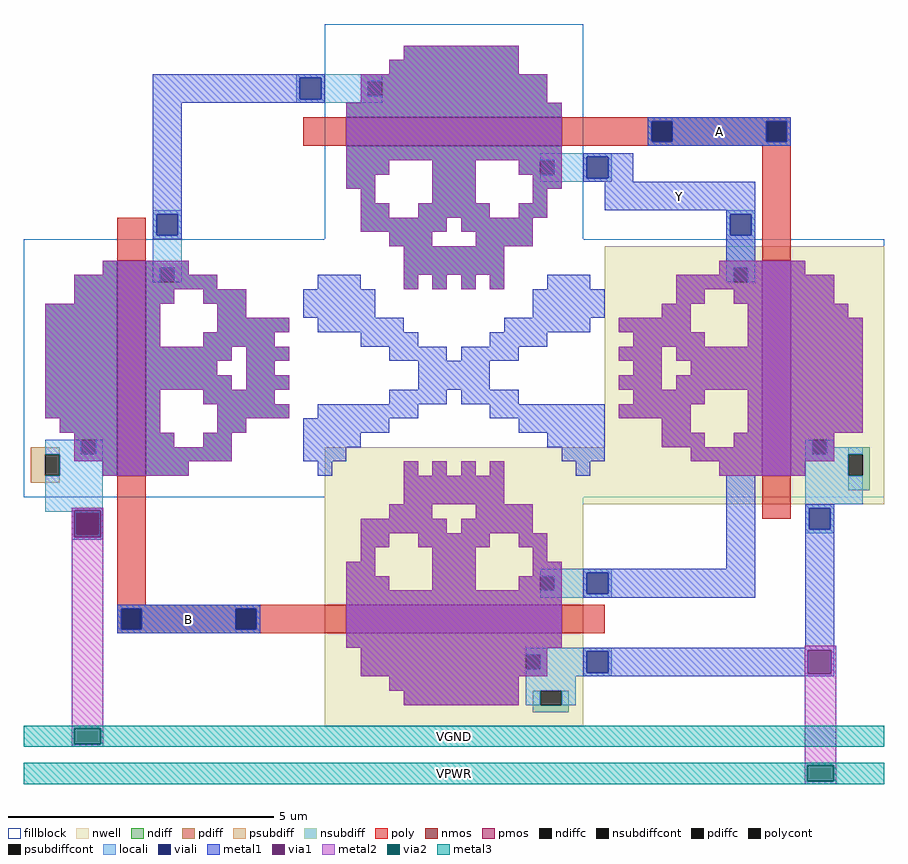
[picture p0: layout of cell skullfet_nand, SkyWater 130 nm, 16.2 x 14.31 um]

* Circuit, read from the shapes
.subckt skullfet_nand A B Y VPWR VGND
XM1 n1 B VGND VGND sky130_fd_pr__nfet_01v8 w=4.05 l=0.54
XM2 n1 A Y VGND sky130_fd_pr__nfet_01v8 w=4.05 l=0.54
XM3 Y B VPWR VPWR sky130_fd_pr__pfet_01v8 w=4.05 l=0.54
XM4 VPWR A Y VPWR sky130_fd_pr__pfet_01v8 w=4.05 l=0.54
.ends

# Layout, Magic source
magic
tech sky130A
magscale 1 2
<< nwell >>
rect 2187 1269 3240 2025
rect 1134 1053 3240 1269
rect 1134 216 2106 1053
<< nmos >>
rect 1215 2403 2025 2511
rect 351 1161 459 1971
<< pmos >>
rect 2781 1161 2889 1971
rect 1215 567 2025 675
<< ndiff >>
rect 1431 2727 1863 2781
rect 1377 2673 1863 2727
rect 1269 2646 1971 2673
rect 1269 2592 1296 2646
rect 1350 2592 1971 2646
rect 1269 2565 1971 2592
rect 1215 2511 2025 2565
rect 1215 2349 2025 2403
rect 1215 2295 1377 2349
rect 1215 2241 1323 2295
rect 1269 2187 1323 2241
rect 1539 2187 1701 2349
rect 1863 2295 1944 2349
rect 1998 2295 2025 2349
rect 1917 2241 2025 2295
rect 1917 2187 1971 2241
rect 1269 2133 1377 2187
rect 1485 2133 1755 2187
rect 1863 2133 1971 2187
rect 1269 2079 1593 2133
rect 1647 2079 1917 2133
rect 1377 2025 1539 2079
rect 1701 2025 1917 2079
rect 297 1917 351 1971
rect 189 1809 351 1917
rect 81 1377 351 1809
rect 135 1323 351 1377
rect 189 1296 351 1323
rect 189 1242 216 1296
rect 270 1242 351 1296
rect 189 1215 351 1242
rect 297 1161 351 1215
rect 459 1944 621 1971
rect 459 1890 513 1944
rect 567 1917 621 1944
rect 1431 1917 1809 2025
rect 567 1890 729 1917
rect 459 1863 729 1890
rect 1431 1863 1485 1917
rect 1539 1863 1593 1917
rect 1647 1863 1701 1917
rect 1755 1863 1809 1917
rect 459 1809 567 1863
rect 675 1809 837 1863
rect 459 1647 513 1809
rect 729 1755 837 1809
rect 729 1701 999 1755
rect 675 1647 945 1701
rect 459 1593 783 1647
rect 837 1593 999 1647
rect 459 1539 729 1593
rect 837 1539 945 1593
rect 459 1485 783 1539
rect 837 1485 999 1539
rect 459 1323 513 1485
rect 675 1431 945 1485
rect 729 1377 999 1431
rect 729 1323 837 1377
rect 459 1269 567 1323
rect 675 1269 783 1323
rect 459 1215 783 1269
rect 459 1161 621 1215
<< pdiff >>
rect 2619 1944 2781 1971
rect 2619 1917 2673 1944
rect 2457 1890 2673 1917
rect 2727 1890 2781 1944
rect 2457 1863 2781 1890
rect 2457 1809 2565 1863
rect 2673 1809 2781 1863
rect 2403 1755 2511 1809
rect 2241 1701 2511 1755
rect 2295 1647 2565 1701
rect 2727 1647 2781 1809
rect 2241 1593 2403 1647
rect 2457 1593 2781 1647
rect 2295 1539 2403 1593
rect 2511 1539 2781 1593
rect 2241 1485 2403 1539
rect 2457 1485 2781 1539
rect 2295 1431 2565 1485
rect 2241 1377 2511 1431
rect 2403 1323 2511 1377
rect 2727 1323 2781 1485
rect 2403 1269 2565 1323
rect 2673 1269 2781 1323
rect 2511 1215 2781 1269
rect 1431 1161 1485 1215
rect 1539 1161 1593 1215
rect 1647 1161 1701 1215
rect 1755 1161 1809 1215
rect 2619 1161 2781 1215
rect 2889 1917 2943 1971
rect 2889 1809 3051 1917
rect 2889 1755 3105 1809
rect 2889 1323 3159 1755
rect 2889 1296 3051 1323
rect 2889 1242 2970 1296
rect 3024 1242 3051 1296
rect 2889 1215 3051 1242
rect 2889 1161 2943 1215
rect 1431 1053 1809 1161
rect 1377 999 1539 1053
rect 1701 999 1917 1053
rect 1269 945 1593 999
rect 1647 945 1917 999
rect 1269 891 1377 945
rect 1485 891 1755 945
rect 1863 891 1971 945
rect 1269 837 1323 891
rect 1215 783 1323 837
rect 1215 729 1377 783
rect 1539 729 1701 891
rect 1917 837 1971 891
rect 1917 783 2025 837
rect 1863 729 1944 783
rect 1998 729 2025 783
rect 1215 675 2025 729
rect 1215 513 2025 567
rect 1269 486 1971 513
rect 1269 432 1890 486
rect 1944 432 1971 486
rect 1269 405 1971 432
rect 1377 351 1863 405
rect 1431 297 1863 351
<< ndiffc >>
rect 1296 2592 1350 2646
rect 1944 2295 1998 2349
rect 216 1242 270 1296
rect 513 1890 567 1944
<< pdiffc >>
rect 2673 1890 2727 1944
rect 2970 1242 3024 1296
rect 1944 729 1998 783
rect 1890 432 1944 486
<< psubdiff >>
rect 27 1242 135 1269
rect 27 1161 81 1242
rect 27 1134 135 1161
<< nsubdiff >>
rect 3105 1242 3186 1269
rect 3159 1161 3186 1242
rect 3105 1107 3186 1161
rect 1917 297 1944 351
rect 2025 297 2052 351
rect 1917 270 2052 297
<< psubdiffcont >>
rect 81 1161 135 1242
<< nsubdiffcont >>
rect 3105 1161 3159 1242
rect 1944 297 2025 351
<< poly >>
rect 1053 2403 1215 2511
rect 2025 2495 2889 2511
rect 2025 2419 2365 2495
rect 2441 2419 2797 2495
rect 2873 2419 2889 2495
rect 2025 2403 2889 2419
rect 351 1971 459 2133
rect 2781 1971 2889 2403
rect 351 675 459 1161
rect 2781 999 2889 1161
rect 351 659 1215 675
rect 351 583 367 659
rect 443 583 799 659
rect 875 583 1215 659
rect 351 567 1215 583
rect 2025 567 2187 675
<< polycont >>
rect 2365 2419 2441 2495
rect 2797 2419 2873 2495
rect 367 583 443 659
rect 799 583 875 659
<< locali >>
rect 1026 2659 1350 2673
rect 1026 2579 1040 2659
rect 1120 2646 1350 2659
rect 1120 2592 1296 2646
rect 1120 2579 1350 2592
rect 1026 2565 1350 2579
rect 2349 2496 2889 2511
rect 2349 2418 2364 2496
rect 2442 2418 2796 2496
rect 2874 2418 2889 2496
rect 2349 2403 2889 2418
rect 1944 2362 2214 2376
rect 1944 2349 2120 2362
rect 1998 2295 2120 2349
rect 1944 2282 2120 2295
rect 2200 2282 2214 2362
rect 1944 2268 2214 2282
rect 486 2146 594 2160
rect 486 2066 500 2146
rect 580 2066 594 2146
rect 486 1944 594 2066
rect 486 1890 513 1944
rect 567 1890 594 1944
rect 2646 2146 2754 2160
rect 2646 2066 2660 2146
rect 2740 2066 2754 2146
rect 2646 1944 2754 2066
rect 2646 1890 2673 1944
rect 2727 1890 2754 1944
rect 81 1242 216 1296
rect 270 1242 297 1296
rect 135 1161 297 1242
rect 81 1026 297 1161
rect 189 1020 297 1026
rect 189 940 200 1020
rect 280 940 297 1020
rect 2943 1242 2970 1296
rect 3024 1269 3051 1296
rect 3024 1242 3159 1269
rect 2943 1161 3105 1242
rect 2943 1053 3159 1161
rect 2943 1039 3051 1053
rect 2943 959 2957 1039
rect 3037 959 3051 1039
rect 2943 945 3051 959
rect 189 920 297 940
rect 1944 796 2214 810
rect 1944 783 2120 796
rect 1998 729 2120 783
rect 1944 716 2120 729
rect 2200 716 2214 796
rect 1944 702 2214 716
rect 351 660 891 675
rect 351 582 366 660
rect 444 582 798 660
rect 876 582 891 660
rect 351 567 891 582
rect 1890 499 2214 513
rect 1890 486 2120 499
rect 1944 432 2120 486
rect 1890 419 2120 432
rect 2200 419 2214 499
rect 1890 405 2214 419
rect 1890 351 2079 405
rect 1890 297 1944 351
rect 2025 297 2079 351
<< viali >>
rect 1040 2579 1120 2659
rect 2364 2495 2442 2496
rect 2364 2419 2365 2495
rect 2365 2419 2441 2495
rect 2441 2419 2442 2495
rect 2364 2418 2442 2419
rect 2796 2495 2874 2496
rect 2796 2419 2797 2495
rect 2797 2419 2873 2495
rect 2873 2419 2874 2495
rect 2796 2418 2874 2419
rect 2120 2282 2200 2362
rect 500 2066 580 2146
rect 2660 2066 2740 2146
rect 200 940 280 1020
rect 2957 959 3037 1039
rect 2120 716 2200 796
rect 366 659 444 660
rect 366 583 367 659
rect 367 583 443 659
rect 443 583 444 659
rect 366 582 444 583
rect 798 659 876 660
rect 798 583 799 659
rect 799 583 875 659
rect 875 583 876 659
rect 798 582 876 583
rect 2120 419 2200 499
<< metal1 >>
rect 1431 2727 1863 2781
rect 1377 2673 1863 2727
rect 486 2659 1134 2673
rect 486 2579 1040 2659
rect 1120 2579 1134 2659
rect 486 2565 1134 2579
rect 1269 2565 1971 2673
rect 486 2146 594 2565
rect 1215 2349 2025 2565
rect 2349 2496 2889 2511
rect 2349 2418 2364 2496
rect 2442 2418 2796 2496
rect 2874 2418 2889 2496
rect 2349 2403 2889 2418
rect 1215 2295 1377 2349
rect 1215 2241 1323 2295
rect 486 2066 500 2146
rect 580 2066 594 2146
rect 1269 2187 1323 2241
rect 1539 2187 1701 2349
rect 1863 2295 2025 2349
rect 1917 2241 2025 2295
rect 2106 2362 2295 2376
rect 2106 2282 2120 2362
rect 2200 2282 2295 2362
rect 2106 2268 2295 2282
rect 1917 2187 1971 2241
rect 1269 2133 1377 2187
rect 1485 2133 1755 2187
rect 1863 2133 1971 2187
rect 2187 2160 2754 2268
rect 2646 2146 2754 2160
rect 1269 2079 1593 2133
rect 1647 2079 1917 2133
rect 486 2052 594 2066
rect 1377 2025 1539 2079
rect 1701 2025 1917 2079
rect 2646 2066 2660 2146
rect 2740 2066 2754 2146
rect 297 1917 621 1971
rect 1431 1917 1809 2025
rect 2646 1971 2754 2066
rect 2619 1917 2943 1971
rect 189 1863 729 1917
rect 1107 1863 1269 1917
rect 1431 1863 1485 1917
rect 1539 1863 1593 1917
rect 1647 1863 1701 1917
rect 1755 1863 1809 1917
rect 1971 1863 2133 1917
rect 2457 1863 3051 1917
rect 189 1809 567 1863
rect 675 1809 837 1863
rect 81 1647 513 1809
rect 729 1755 837 1809
rect 1053 1755 1323 1863
rect 1917 1755 2187 1863
rect 2457 1809 2565 1863
rect 2673 1809 3051 1863
rect 2403 1755 2511 1809
rect 729 1701 999 1755
rect 1107 1701 1431 1755
rect 1809 1701 2133 1755
rect 2241 1701 2511 1755
rect 2727 1755 3105 1809
rect 675 1647 945 1701
rect 1269 1647 1485 1701
rect 1755 1647 1971 1701
rect 2295 1647 2565 1701
rect 2727 1647 3159 1755
rect 81 1593 783 1647
rect 837 1593 999 1647
rect 1377 1593 1593 1647
rect 1647 1593 1863 1647
rect 2241 1593 2403 1647
rect 2457 1593 3159 1647
rect 81 1539 729 1593
rect 837 1539 945 1593
rect 81 1485 783 1539
rect 837 1485 999 1539
rect 1485 1485 1755 1593
rect 2295 1539 2403 1593
rect 2511 1539 3159 1593
rect 2241 1485 2403 1539
rect 2457 1485 3159 1539
rect 81 1377 513 1485
rect 675 1431 945 1485
rect 1377 1431 1593 1485
rect 1647 1431 1863 1485
rect 2295 1431 2565 1485
rect 135 1323 513 1377
rect 729 1377 999 1431
rect 1107 1377 1485 1431
rect 1755 1377 2187 1431
rect 2241 1377 2511 1431
rect 729 1323 837 1377
rect 1053 1323 1377 1377
rect 1863 1323 2187 1377
rect 189 1269 567 1323
rect 675 1269 783 1323
rect 189 1215 783 1269
rect 1053 1269 1269 1323
rect 1971 1269 2187 1323
rect 2403 1323 2511 1377
rect 2727 1323 3159 1485
rect 2403 1269 2565 1323
rect 2673 1269 3051 1323
rect 1053 1215 1215 1269
rect 2025 1215 2187 1269
rect 2511 1215 3051 1269
rect 297 1161 621 1215
rect 1107 1161 1161 1215
rect 1431 1161 1485 1215
rect 1539 1161 1593 1215
rect 1647 1161 1701 1215
rect 1755 1161 1809 1215
rect 2079 1161 2133 1215
rect 2619 1161 2943 1215
rect 1431 1053 1809 1161
rect 180 1030 300 1040
rect 180 930 190 1030
rect 290 930 300 1030
rect 1377 999 1539 1053
rect 1701 999 1917 1053
rect 180 920 300 930
rect 1269 945 1593 999
rect 1647 945 1917 999
rect 1269 891 1377 945
rect 1485 891 1755 945
rect 1863 891 1971 945
rect 1269 837 1323 891
rect 1215 783 1323 837
rect 1215 729 1377 783
rect 1539 729 1701 891
rect 1917 837 1971 891
rect 1917 783 2025 837
rect 2646 810 2754 1161
rect 1863 729 2025 783
rect 351 660 891 675
rect 351 582 366 660
rect 444 582 798 660
rect 876 582 891 660
rect 351 567 891 582
rect 1215 513 2025 729
rect 2106 796 2754 810
rect 2106 716 2120 796
rect 2200 716 2754 796
rect 2106 702 2754 716
rect 2943 1039 3051 1053
rect 2943 959 2957 1039
rect 3037 959 3051 1039
rect 2943 513 3051 959
rect 1269 405 1971 513
rect 2106 503 3051 513
rect 2106 499 2953 503
rect 2106 419 2120 499
rect 2200 419 2953 499
rect 2106 415 2953 419
rect 3041 415 3051 503
rect 2106 405 3051 415
rect 1377 351 1863 405
rect 1431 297 1863 351
<< via1 >>
rect 190 1020 290 1030
rect 190 940 200 1020
rect 200 940 280 1020
rect 280 940 290 1020
rect 190 930 290 940
rect 2953 415 3041 503
<< metal2 >>
rect 1431 2727 1863 2781
rect 1377 2673 1863 2727
rect 1269 2565 1971 2673
rect 1215 2349 2025 2565
rect 1215 2295 1377 2349
rect 1215 2241 1323 2295
rect 1269 2187 1323 2241
rect 1539 2187 1701 2349
rect 1863 2295 2025 2349
rect 1917 2241 2025 2295
rect 1917 2187 1971 2241
rect 1269 2133 1377 2187
rect 1485 2133 1755 2187
rect 1863 2133 1971 2187
rect 1269 2079 1593 2133
rect 1647 2079 1917 2133
rect 1377 2025 1539 2079
rect 1701 2025 1917 2079
rect 297 1917 621 1971
rect 1431 1917 1809 2025
rect 2619 1917 2943 1971
rect 189 1863 729 1917
rect 1431 1863 1485 1917
rect 1539 1863 1593 1917
rect 1647 1863 1701 1917
rect 1755 1863 1809 1917
rect 2457 1863 3051 1917
rect 189 1809 567 1863
rect 675 1809 837 1863
rect 2457 1809 2565 1863
rect 2673 1809 3051 1863
rect 81 1647 513 1809
rect 729 1755 837 1809
rect 2403 1755 2511 1809
rect 729 1701 999 1755
rect 2241 1701 2511 1755
rect 2727 1755 3105 1809
rect 675 1647 945 1701
rect 2295 1647 2565 1701
rect 2727 1647 3159 1755
rect 81 1593 783 1647
rect 837 1593 999 1647
rect 2241 1593 2403 1647
rect 2457 1593 3159 1647
rect 81 1539 729 1593
rect 837 1539 945 1593
rect 2295 1539 2403 1593
rect 2511 1539 3159 1593
rect 81 1485 783 1539
rect 837 1485 999 1539
rect 2241 1485 2403 1539
rect 2457 1485 3159 1539
rect 81 1377 513 1485
rect 675 1431 945 1485
rect 2295 1431 2565 1485
rect 135 1323 513 1377
rect 729 1377 999 1431
rect 2241 1377 2511 1431
rect 729 1323 837 1377
rect 2403 1323 2511 1377
rect 2727 1323 3159 1485
rect 189 1269 567 1323
rect 675 1269 783 1323
rect 2403 1269 2565 1323
rect 2673 1269 3051 1323
rect 189 1215 783 1269
rect 2511 1215 3051 1269
rect 297 1161 621 1215
rect 1431 1161 1485 1215
rect 1539 1161 1593 1215
rect 1647 1161 1701 1215
rect 1755 1161 1809 1215
rect 2619 1161 2943 1215
rect 1431 1053 1809 1161
rect 180 1030 300 1040
rect 180 930 190 1030
rect 290 930 300 1030
rect 1377 999 1539 1053
rect 1701 999 1917 1053
rect 180 210 300 930
rect 1269 945 1593 999
rect 1647 945 1917 999
rect 1269 891 1377 945
rect 1485 891 1755 945
rect 1863 891 1971 945
rect 1269 837 1323 891
rect 1215 783 1323 837
rect 1215 729 1377 783
rect 1539 729 1701 891
rect 1917 837 1971 891
rect 1917 783 2025 837
rect 1863 729 2025 783
rect 1215 513 2025 729
rect 1269 405 1971 513
rect 2940 503 3060 520
rect 2940 415 2953 503
rect 3041 415 3060 503
rect 1377 351 1863 405
rect 1431 297 1863 351
rect 180 150 190 210
rect 290 150 300 210
rect 180 140 300 150
rect 2940 70 3060 415
rect 2940 10 2950 70
rect 3050 10 3060 70
rect 2940 0 3060 10
<< via2 >>
rect 190 150 290 210
rect 2950 10 3050 70
<< metal3 >>
rect 0 210 3240 220
rect 0 150 190 210
rect 290 150 3240 210
rect 0 140 3240 150
rect 0 70 3240 80
rect 0 10 2950 70
rect 3050 10 3240 70
rect 0 0 3240 10
<< fillblock >>
rect 1134 2052 2106 2862
rect 0 1080 3240 2052
rect 1134 216 2106 1080
<< labels >>
flabel metal1 s 2349 2403 2889 2511 0 FreeSans 240 0 0 0 A
port 1 nsew signal input
flabel metal1 s 351 567 891 675 0 FreeSans 240 0 0 0 B
port 2 nsew signal input
flabel metal1 s 2187 2160 2754 2268 0 FreeSans 240 0 0 0 Y
port 3 nsew signal output
flabel metal3 s 0 0 3240 80 0 FreeSans 240 0 0 0 VPWR
port 4 nsew power input
flabel metal3 s 0 140 3240 220 0 FreeSans 240 0 0 0 VGND
port 5 nsew ground input
<< end >>
